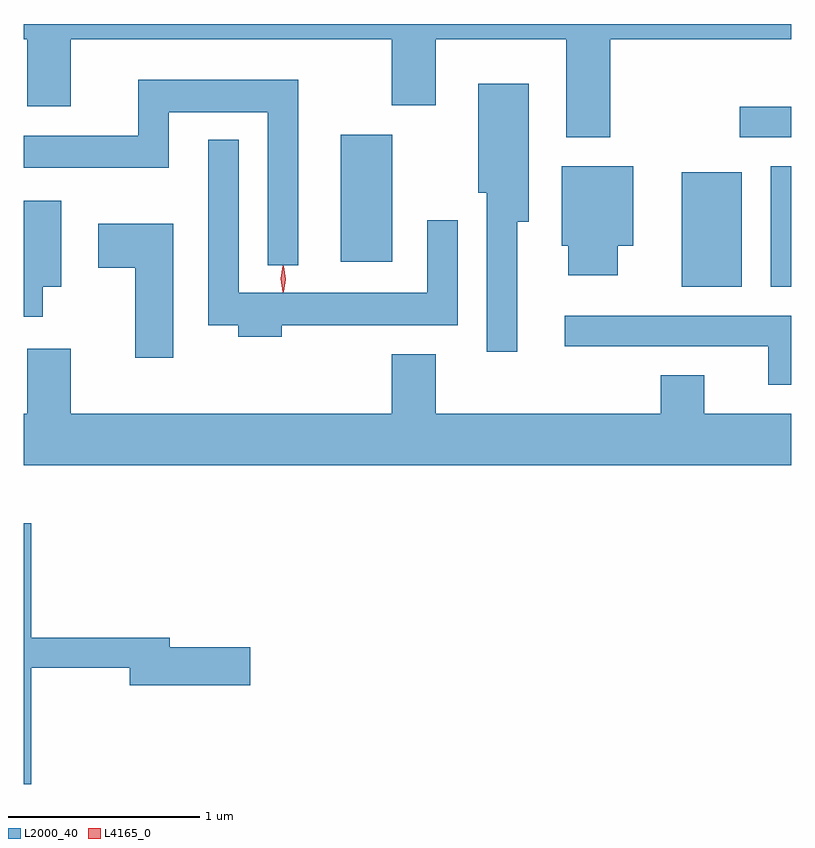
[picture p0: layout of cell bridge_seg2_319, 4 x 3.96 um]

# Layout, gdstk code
import gdstk
lib = gdstk.Library(unit=1e-6, precision=1e-09)
def R(c, l, rs):  # rectangles x0, y0, x1, y1
    for r in rs: c.add(gdstk.rectangle(r[:2], r[2:], *l))
def P(c, l, *ps):  # polygons
    for p in ps: c.add(gdstk.Polygon(p, *l))
L2000_40 = (2000, 40)
L4165_0 = (4165, 0)

bridge_seg2_319 = lib.new_cell('bridge_seg2_319')
R(bridge_seg2_319, L2000_40, [(467.891,1033.706,468.204,1034.304), (468.356,1033.706,468.463,1034.334), (466.116,1033.836,466.384,1034.499), (468.193,1034.486,468.463,1034.644)])
P(bridge_seg2_319, L2000_40, [(467.519,1034.996),(468.463,1034.996),(468.463,1035.075),(464.463,1035.075),(464.463,1034.996),(464.481,1034.996),(464.481,1034.646),(464.709,1034.646),(464.709,1034.996),(466.381,1034.996),(466.381,1034.651),(466.609,1034.651),(466.609,1034.996),(467.291,1034.996),(467.291,1034.486),(467.519,1034.486)],
  [(465.894,1034.784),(465.061,1034.784),(465.061,1034.494),(464.463,1034.494),(464.463,1034.326),(465.219,1034.326),(465.219,1034.616),(465.736,1034.616),(465.736,1033.818),(465.894,1033.818)],
  [(467.034,1034.046),(467.094,1034.046),(467.094,1034.764),(466.831,1034.764),(466.831,1034.196),(466.876,1034.196),(466.876,1033.368),(467.034,1033.368)],
  [(465.809,1033.506),(466.724,1033.506),(466.724,1034.053),(466.566,1034.053),(466.566,1033.674),(465.584,1033.674),(465.584,1034.473),(465.426,1034.473),(465.426,1033.506),(465.581,1033.506),(465.581,1033.446),(465.809,1033.446)],
  [(467.559,1033.921),(467.639,1033.921),(467.639,1034.334),(467.266,1034.334),(467.266,1033.921),(467.301,1033.921),(467.301,1033.766),(467.559,1033.766)],
  [(464.564,1033.706),(464.659,1033.706),(464.659,1034.154),(464.463,1034.154),(464.463,1033.551),(464.564,1033.551)],
  [(465.244,1034.034),(464.851,1034.034),(464.851,1033.806),(465.046,1033.806),(465.046,1033.336),(465.244,1033.336)],
  [(468.463,1033.554),(467.283,1033.554),(467.283,1033.396),(468.341,1033.396),(468.341,1033.196),(468.463,1033.196)],
  [(468.463,1033.044),(468.009,1033.044),(468.009,1033.244),(467.781,1033.244),(467.781,1033.044),(466.609,1033.044),(466.609,1033.354),(466.381,1033.354),(466.381,1033.044),(464.709,1033.044),(464.709,1033.384),(464.481,1033.384),(464.481,1033.044),(464.463,1033.044),(464.463,1032.776),(468.463,1032.776)],
  [(464.504,1031.721),(465.016,1031.721),(465.016,1031.631),(465.644,1031.631),(465.644,1031.829),(465.224,1031.829),(465.224,1031.879),(464.504,1031.879),(464.504,1032.474),(464.463,1032.474),(464.463,1031.116),(464.504,1031.116)])
P(bridge_seg2_319, L4165_0, [(465.814,1033.677),(465.814,1033.677),(465.804,1033.747),(465.814,1033.816),(465.814,1033.816),(465.815,1033.816),(465.824,1033.747),(465.815,1033.677)],
  [(465.818,1033.679),(465.818,1033.68),(465.808,1033.746),(465.818,1033.813),(465.818,1033.813),(465.819,1033.813),(465.828,1033.746),(465.819,1033.68)])

lib.write_gds('bridge_seg2_319.gds')
